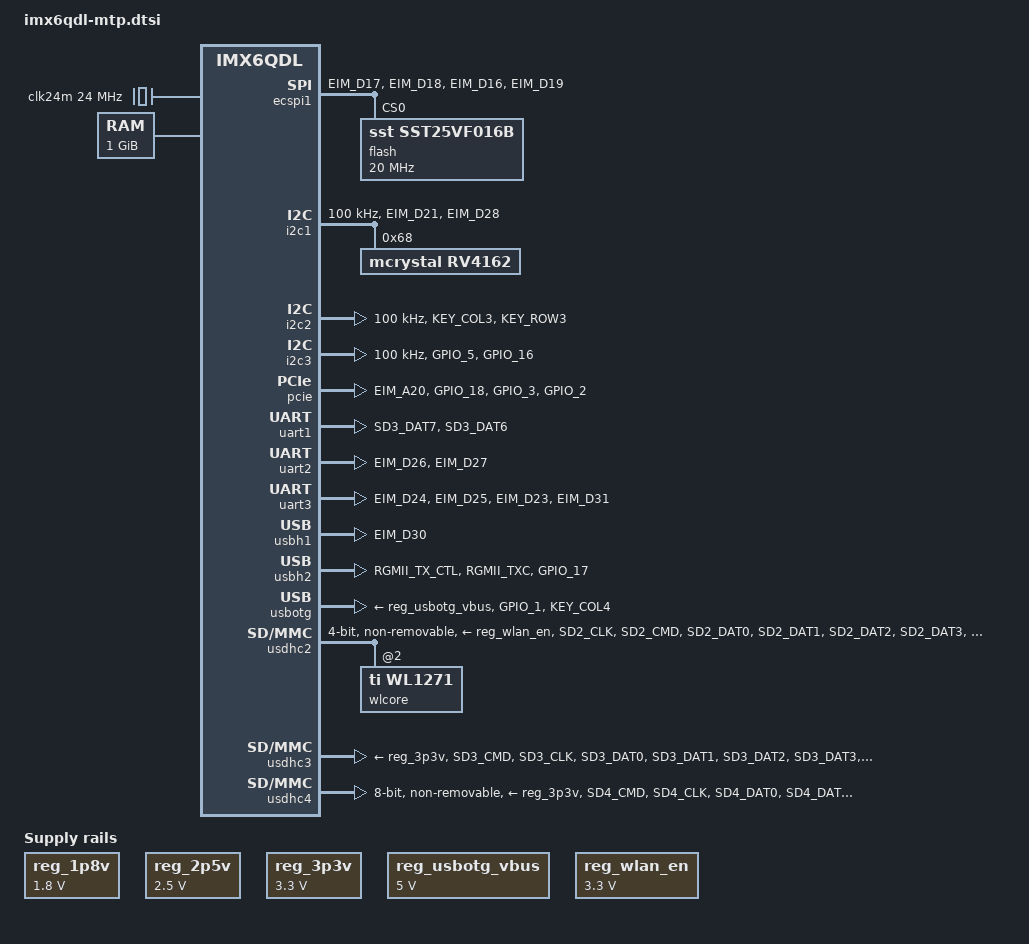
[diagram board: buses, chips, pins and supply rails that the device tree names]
/*
 * Copyright 2013 Boundary Devices
 * Copyright 2012 Freescale Semiconductor, Inc.
 * Copyright 2011 Linaro Ltd.
 *
 * The code contained herein is licensed under the GNU General Public
 * License. You may obtain a copy of the GNU General Public License
 * Version 2 or later at the following locations:
 *
 * http://www.opensource.org/licenses/gpl-license.html
 * http://www.gnu.org/copyleft/gpl.html
 */
#include <dt-bindings/gpio/gpio.h>
#include <dt-bindings/input/input.h>

&iomuxc {
	pinctrl-names = "default";
	pinctrl-0 = <&pinctrl_hog>;

	iomuxc_imx6q_mtp: iomuxc-imx6q-mtpgrp {
		status = "okay";
	};
};

&iomuxc_imx6q_mtp {
	pinctrl_bt_rfkill: bt-rfkillgrp {
		fsl,pins = <
#define GP_BT_RFKILL_RESET		<&gpio6 16 GPIO_ACTIVE_HIGH>
			MX6QDL_PAD_NANDF_CS3__GPIO6_IO16	0x000b0
			MX6QDL_PAD_KEY_ROW4__GPIO4_IO15		0x1b0b0		/* wl1271 btfunc5 */
		>;
	};

	pinctrl_ecspi1: ecspi1grp {
		fsl,pins = <
			MX6QDL_PAD_EIM_D17__ECSPI1_MISO		0x100b1
			MX6QDL_PAD_EIM_D18__ECSPI1_MOSI		0x100b1
			MX6QDL_PAD_EIM_D16__ECSPI1_SCLK		0x100b1
#define GP_ECSPI1_NOR_CS		<&gpio3 19 GPIO_ACTIVE_LOW>
			MX6QDL_PAD_EIM_D19__GPIO3_IO19		0x000b1	/* CS */
		>;
	};

	pinctrl_hog: hoggrp {
		fsl,pins = <
			MX6QDL_PAD_KEY_COL0__GPIO4_IO06		0x1b0b0		/* Pic GPIO2 */
			MX6QDL_PAD_KEY_ROW0__GPIO4_IO07		0x1b0b0		/* Pic GPIO1 */
			MX6QDL_PAD_KEY_COL1__GPIO4_IO08		0x1b0b0		/* Pic IRQ */
			MX6QDL_PAD_KEY_COL2__GPIO4_IO10		0x1b0b0		/* Pic GPIO148 */
			MX6QDL_PAD_KEY_ROW2__GPIO4_IO11		0x1b0b0		/* Pic GPIO149 */
			MX6QDL_PAD_EIM_A16__GPIO2_IO22		0x1b0b0		/* BT_DC */
			MX6QDL_PAD_EIM_A17__GPIO2_IO21		0x1b0b0		/* BT_DD */
			MX6QDL_PAD_EIM_A18__GPIO2_IO20		0x1b0b0		/* BT_RESET */
			MX6QDL_PAD_EIM_A19__GPIO2_IO19		0x1b0b0		/* BT_CPU_GPIO */
			MX6QDL_PAD_EIM_A25__GPIO5_IO02		0x1b0b0		/* Gyro Irq - MPU9250, on I2C3 */
		>;
	};

	pinctrl_i2c1: i2c1grp {
		fsl,pins = <
			MX6QDL_PAD_EIM_D21__I2C1_SCL		0x4001b8b1
			MX6QDL_PAD_EIM_D28__I2C1_SDA		0x4001b8b1
		>;
	};

	pinctrl_i2c1_rv4162: i2c1-rv4162grp {
		fsl,pins = <
#define GPIRQ_RTC_RV4162	<&gpio4 9 IRQ_TYPE_LEVEL_LOW>
			MX6QDL_PAD_KEY_ROW1__GPIO4_IO09		0x1b0b0
		>;
	};

	pinctrl_i2c2: i2c2grp {
		fsl,pins = <
			MX6QDL_PAD_KEY_COL3__I2C2_SCL		0x4001b8b1
			MX6QDL_PAD_KEY_ROW3__I2C2_SDA		0x4001b8b1
		>;
	};

	pinctrl_i2c3: i2c3grp {
		fsl,pins = <
			MX6QDL_PAD_GPIO_5__I2C3_SCL  0x4001b8b1
			MX6QDL_PAD_GPIO_16__I2C3_SDA 0x4001b8b1
		>;
	};

	pinctrl_pcie: pciegrp {
		fsl,pins = <
#define GP_PCIE_RESET		<&gpio2 18 GPIO_ACTIVE_LOW>
			MX6QDL_PAD_EIM_A20__GPIO2_IO18		0x030b0
#define GP_PCIE_RESET2		<&gpio7 13 GPIO_ACTIVE_LOW>
			MX6QDL_PAD_GPIO_18__GPIO7_IO13		0x030b0
#define GP_PCIE_PON_RESET	<&gpio1 3 GPIO_ACTIVE_LOW>
			MX6QDL_PAD_GPIO_3__GPIO1_IO03		0x030b0
#define GP_PCIE_WAKE		<&gpio1 2 GPIO_ACTIVE_LOW>
			MX6QDL_PAD_GPIO_2__GPIO1_IO02		0x030b0
		>;
	};

	pinctrl_reg_usbotg_vbus: usb_otg_vbusgrp {
		fsl,pins = <
			/* power enable, high active */
#define GP_REG_USBOTG		<&gpio3 22 GPIO_ACTIVE_HIGH>
			MX6QDL_PAD_EIM_D22__GPIO3_IO22  0x000b0
		>;
	};

	pinctrl_reg_wlan_en: reg-wlan-engrp {
		fsl,pins = <
#define GP_REG_WLAN_EN	<&gpio6 15 GPIO_ACTIVE_HIGH>
			MX6QDL_PAD_NANDF_CS2__GPIO6_IO15	0x030b0
		>;
	};

	pinctrl_uart1: uart1grp {
		fsl,pins = <
			MX6QDL_PAD_SD3_DAT7__UART1_TX_DATA	0x1b0b1
			MX6QDL_PAD_SD3_DAT6__UART1_RX_DATA	0x1b0b1
		>;
	};

	pinctrl_uart2: uart2grp {
		fsl,pins = <
			MX6QDL_PAD_EIM_D26__UART2_TX_DATA	0x1b0b1
			MX6QDL_PAD_EIM_D27__UART2_RX_DATA	0x1b0b1
		>;
	};

	pinctrl_uart3: uart3grp {
		fsl,pins = <
			MX6QDL_PAD_EIM_D24__UART3_TX_DATA	0x1b0b1
			MX6QDL_PAD_EIM_D25__UART3_RX_DATA	0x1b0b1
			MX6QDL_PAD_EIM_D23__UART3_CTS_B		0x1b0b1
			MX6QDL_PAD_EIM_D31__UART3_RTS_B		0x1b0b1
		>;
	};

	pinctrl_usbh1: usbh1grp {
		fsl,pins = <
			MX6QDL_PAD_EIM_D30__USB_H1_OC	0x1b0b0
		>;
	};

	pinctrl_usbh2_idle: usbh2_idlegrp {
		fsl,pins = <
			MX6QDL_PAD_RGMII_TX_CTL__USB_H2_STROBE	0x40013038
			MX6QDL_PAD_RGMII_TXC__USB_H2_DATA	0x40013038
#define GP_USBH2_HUB_RESET	<&gpio7 12 GPIO_ACTIVE_LOW>
			MX6QDL_PAD_GPIO_17__GPIO7_IO12		0x0b0b0		/* USB Hub Reset */
		>;
	};

	pinctrl_usbh2_active: usbh2_activegrp {
		fsl,pins = <
			MX6QDL_PAD_RGMII_TX_CTL__USB_H2_STROBE	0x40017038
		>;
	};

	pinctrl_usbotg: usbotggrp {
		fsl,pins = <
			MX6QDL_PAD_GPIO_1__USB_OTG_ID	0x17059
			MX6QDL_PAD_KEY_COL4__USB_OTG_OC	0x1b0b0
		>;
	};

	pinctrl_usdhc2_50mhz: usdhc2-50mhzgrp {
		fsl,pins = <
			MX6QDL_PAD_SD2_CLK__SD2_CLK		0x10031
			MX6QDL_PAD_SD2_CMD__SD2_CMD		0x17031
			MX6QDL_PAD_SD2_DAT0__SD2_DATA0		0x17031
			MX6QDL_PAD_SD2_DAT1__SD2_DATA1		0x17031
			MX6QDL_PAD_SD2_DAT2__SD2_DATA2		0x17031
			MX6QDL_PAD_SD2_DAT3__SD2_DATA3		0x17031
			MX6QDL_PAD_SD1_CLK__OSC32K_32K_OUT	0x000b0		/* TiWi slow clock */
#define GPIRQ_WL1271	<&gpio6 14 IRQ_TYPE_LEVEL_HIGH>
			MX6QDL_PAD_NANDF_CS1__GPIO6_IO14	0x100b0
		>;
	};

	pinctrl_usdhc2_100mhz: usdhc2-100mhzgrp {
		fsl,pins = <
			MX6QDL_PAD_SD2_CMD__SD2_CMD		0x170B9
			MX6QDL_PAD_SD2_CLK__SD2_CLK		0x100B9
			MX6QDL_PAD_SD2_DAT0__SD2_DATA0		0x170B9
			MX6QDL_PAD_SD2_DAT1__SD2_DATA1 		0x170B9
			MX6QDL_PAD_SD2_DAT2__SD2_DATA2 		0x170B9
			MX6QDL_PAD_SD2_DAT3__SD2_DATA3 		0x170B9
		>;
	};

	pinctrl_usdhc2_200mhz: usdhc2-200mhzgrp {
		fsl,pins = <
			MX6QDL_PAD_SD2_CMD__SD2_CMD		0x170F9
			MX6QDL_PAD_SD2_CLK__SD2_CLK 		0x100F9
			MX6QDL_PAD_SD2_DAT0__SD2_DATA0		0x170F9
			MX6QDL_PAD_SD2_DAT1__SD2_DATA1 		0x170F9
			MX6QDL_PAD_SD2_DAT2__SD2_DATA2 		0x170F9
			MX6QDL_PAD_SD2_DAT3__SD2_DATA3 		0x170F9
		>;
	};

	pinctrl_usdhc3_50mhz: usdhc3_50mhzgrp {
		fsl,pins = <
			MX6QDL_PAD_SD3_CMD__SD3_CMD		0x17059
			MX6QDL_PAD_SD3_CLK__SD3_CLK		0x10059
			MX6QDL_PAD_SD3_DAT0__SD3_DATA0		0x17059
			MX6QDL_PAD_SD3_DAT1__SD3_DATA1		0x17059
			MX6QDL_PAD_SD3_DAT2__SD3_DATA2		0x17059
			MX6QDL_PAD_SD3_DAT3__SD3_DATA3		0x17059
#define GP_SD3_CD		<&gpio7 0 GPIO_ACTIVE_LOW>
			MX6QDL_PAD_SD3_DAT5__GPIO7_IO00 0x1b0b0	/* CD */
		>;
	};

	pinctrl_usdhc3_100mhz: usdhc3_100mhzgrp {
		fsl,pins = <
			MX6QDL_PAD_SD3_CMD__SD3_CMD		0x170b9
			MX6QDL_PAD_SD3_CLK__SD3_CLK		0x100b9
			MX6QDL_PAD_SD3_DAT0__SD3_DATA0		0x170b9
			MX6QDL_PAD_SD3_DAT1__SD3_DATA1		0x170b9
			MX6QDL_PAD_SD3_DAT2__SD3_DATA2		0x170b9
			MX6QDL_PAD_SD3_DAT3__SD3_DATA3		0x170b9
		>;
	};

	pinctrl_usdhc3_200mhz: usdhc3_200mhzgrp {
		fsl,pins = <
			MX6QDL_PAD_SD3_CMD__SD3_CMD		0x170f9
			MX6QDL_PAD_SD3_CLK__SD3_CLK		0x100f9
			MX6QDL_PAD_SD3_DAT0__SD3_DATA0		0x170f9
			MX6QDL_PAD_SD3_DAT1__SD3_DATA1		0x170f9
			MX6QDL_PAD_SD3_DAT2__SD3_DATA2		0x170f9
			MX6QDL_PAD_SD3_DAT3__SD3_DATA3		0x170f9
		>;
	};

	pinctrl_usdhc4_50mhz: usdhc4_50mhzgrp {
		fsl,pins = <
			MX6QDL_PAD_SD4_CMD__SD4_CMD		0x17059
			MX6QDL_PAD_SD4_CLK__SD4_CLK		0x10059
			MX6QDL_PAD_SD4_DAT0__SD4_DATA0		0x17059
			MX6QDL_PAD_SD4_DAT1__SD4_DATA1		0x17059
			MX6QDL_PAD_SD4_DAT2__SD4_DATA2		0x17059
			MX6QDL_PAD_SD4_DAT3__SD4_DATA3		0x17059
			MX6QDL_PAD_SD4_DAT4__SD4_DATA4		0x17059
			MX6QDL_PAD_SD4_DAT5__SD4_DATA5		0x17059
			MX6QDL_PAD_SD4_DAT6__SD4_DATA6		0x17059
			MX6QDL_PAD_SD4_DAT7__SD4_DATA7		0x17059
#define GP_EMMC_RESET	<&gpio6 11 GPIO_ACTIVE_LOW>
			MX6QDL_PAD_NANDF_CS0__GPIO6_IO11 0x1b0b0
		>;
	};

	pinctrl_usdhc4_100mhz: usdhc4_100mhzgrp {
		fsl,pins = <
			MX6QDL_PAD_SD4_CMD__SD4_CMD		0x170b9
			MX6QDL_PAD_SD4_CLK__SD4_CLK		0x100b9
			MX6QDL_PAD_SD4_DAT0__SD4_DATA0		0x170b9
			MX6QDL_PAD_SD4_DAT1__SD4_DATA1		0x170b9
			MX6QDL_PAD_SD4_DAT2__SD4_DATA2		0x170b9
			MX6QDL_PAD_SD4_DAT3__SD4_DATA3		0x170b9
			MX6QDL_PAD_SD4_DAT4__SD4_DATA4		0x170b9
			MX6QDL_PAD_SD4_DAT5__SD4_DATA5		0x170b9
			MX6QDL_PAD_SD4_DAT6__SD4_DATA6		0x170b9
			MX6QDL_PAD_SD4_DAT7__SD4_DATA7		0x170b9
		>;
	};

	pinctrl_usdhc4_200mhz: usdhc4_200mhzgrp {
		fsl,pins = <
			MX6QDL_PAD_SD4_CMD__SD4_CMD		0x170f9
			MX6QDL_PAD_SD4_CLK__SD4_CLK		0x100f9
			MX6QDL_PAD_SD4_DAT0__SD4_DATA0		0x170f9
			MX6QDL_PAD_SD4_DAT1__SD4_DATA1		0x170f9
			MX6QDL_PAD_SD4_DAT2__SD4_DATA2		0x170f9
			MX6QDL_PAD_SD4_DAT3__SD4_DATA3		0x170f9
			MX6QDL_PAD_SD4_DAT4__SD4_DATA4		0x170f9
			MX6QDL_PAD_SD4_DAT5__SD4_DATA5		0x170f9
			MX6QDL_PAD_SD4_DAT6__SD4_DATA6		0x170f9
			MX6QDL_PAD_SD4_DAT7__SD4_DATA7		0x170f9
		>;
	};
};

/ {
	aliases {
		mmc0 = &usdhc3;
		mmc1 = &usdhc4;
		mmc2 = &usdhc2;
	};

	bt_rfkill: bt_rfkill {
		compatible = "net,rfkill-gpio";
		pinctrl-names = "default";
		pinctrl-0 = <&pinctrl_bt_rfkill>;
		name = "bt_rfkill";
		type = <2>;     /* bluetooth */
		reset-gpios = GP_BT_RFKILL_RESET;
	};

	clocks {
		clk24m: clk24m {
			compatible = "fixed-clock";
			#clock-cells = <0>;
			clock-frequency = <24000000>;
		};
	};

	memory {
		reg = <0x10000000 0x40000000>;
	};

	regulators {
		compatible = "simple-bus";
		#address-cells = <1>;
		#size-cells = <0>;

		reg_1p8v: regulator@0 {
			compatible = "regulator-fixed";
			reg = <0>;
			regulator-name = "1P8V";
			regulator-min-microvolt = <1800000>;
			regulator-max-microvolt = <1800000>;
			regulator-always-on;
		};

		reg_2p5v: regulator@1 {
			compatible = "regulator-fixed";
			reg = <1>;
			regulator-name = "2P5V";
			regulator-min-microvolt = <2500000>;
			regulator-max-microvolt = <2500000>;
			regulator-always-on;
		};

		reg_3p3v: regulator@2 {
			compatible = "regulator-fixed";
			reg = <2>;
			regulator-name = "3P3V";
			regulator-min-microvolt = <3300000>;
			regulator-max-microvolt = <3300000>;
			regulator-always-on;
		};

		reg_usbotg_vbus: regulator@3 {
			compatible = "regulator-fixed";
			reg = <3>;
			pinctrl-names = "default";
			pinctrl-0 = <&pinctrl_reg_usbotg_vbus>;
			regulator-name = "usb_otg_vbus";
			regulator-min-microvolt = <5000000>;
			regulator-max-microvolt = <5000000>;
			gpio = GP_REG_USBOTG;
			enable-active-high;
		};

		reg_wlan_en: regulator@4 {
			compatible = "regulator-fixed";
			reg = <4>;
			pinctrl-names = "default";
			pinctrl-0 = <&pinctrl_reg_wlan_en>;
			regulator-name = "wlan-en";
			regulator-min-microvolt = <3300000>;
			regulator-max-microvolt = <3300000>;
			gpio = GP_REG_WLAN_EN;
			startup-delay-us = <70000>;
			enable-active-high;
		};
	};
};

&ecspi1 {
	fsl,spi-num-chipselects = <1>;
	cs-gpios = GP_ECSPI1_NOR_CS;
	pinctrl-names = "default";
	pinctrl-0 = <&pinctrl_ecspi1>;
	status = "okay";

	flash: m25p80@0 {
		compatible = "sst,sst25vf016b";
		spi-max-frequency = <20000000>;
		reg = <0>;
		#address-cells = <1>;
		#size-cells = <1>;
		mtd@00000000 {
			label = "U-Boot";
			reg = <0x0 0xC0000>;
		};

		mtd@000C0000 {
			label = "env";
			reg = <0xC0000 0x2000>;
		};
		mtd@000C2000 {
			label = "splash";
			reg = <0xC2000 0x13e000>;
		};
	};
};


&i2c1 {
	clock-frequency = <100000>;
	pinctrl-names = "default";
	pinctrl-0 = <&pinctrl_i2c1>;
	status = "okay";

	rv4162@68 {
		compatible = "mcrystal,rv4162";
		reg = <0x68>;
		interrupts-extended = GPIRQ_RTC_RV4162;
		pinctrl-names = "default";
		pinctrl-0 = <&pinctrl_i2c1_rv4162>;
	};
};

&i2c2 {
	clock-frequency = <100000>;
	pinctrl-names = "default";
	pinctrl-0 = <&pinctrl_i2c2>;
	status = "okay";
};

&i2c3 {
        clock-frequency = <100000>;
        pinctrl-names = "default";
        pinctrl-0 = <&pinctrl_i2c3>;
        status = "okay";
};

&pcie {
	pinctrl-names = "default";
	pinctrl-0 = <&pinctrl_pcie>;
	reset-gpio = GP_PCIE_PON_RESET,GP_PCIE_RESET,GP_PCIE_RESET2;
	status = "okay";
};

&uart1 {
	pinctrl-names = "default";
	pinctrl-0 = <&pinctrl_uart1>;
	status = "okay";
};

&uart2 {
	pinctrl-names = "default";
	pinctrl-0 = <&pinctrl_uart2>;
	status = "okay";
};

/* TiWi(wl1271) bluetooth */
&uart3 {
	pinctrl-names = "default";
	pinctrl-0 = <&pinctrl_uart3>;
	fsl,uart-has-rtscts;
	status = "okay";
};

&usbh1 {
	pinctrl-names = "default";
	pinctrl-0 = <&pinctrl_usbh1>;
	status = "okay";
};

&usbh2 {
	pinctrl-names = "idle", "active";
	pinctrl-0 = <&pinctrl_usbh2_idle>;
	pinctrl-1 = <&pinctrl_usbh2_active>;
	reset-gpios = GP_USBH2_HUB_RESET;
	osc-clkgate-delay = <0x3>;
	status = "okay";
};

&usbotg {
	pinctrl-names = "default";
	pinctrl-0 = <&pinctrl_usbotg>;
	vbus-supply = <&reg_usbotg_vbus>;
	disable-over-current;
	status = "okay";
};

&usdhc2 {	/* uSDHC2, silex/TiWi wl1271 */
	pinctrl-names = "default", "state_100mhz", "state_200mhz";
	pinctrl-0 = <&pinctrl_usdhc2_50mhz>;
	pinctrl-1 = <&pinctrl_usdhc2_100mhz>;
	pinctrl-2 = <&pinctrl_usdhc2_200mhz>;
	bus-width = <4>;
	non-removable;
	vmmc-supply = <&reg_wlan_en>;
	vqmmc-1-8-v;
	cap-power-off-card;
	keep-power-in-suspend;
	status = "okay";

	#address-cells = <1>;
	#size-cells = <0>;
	wlcore: wlcore@2 {
		compatible = "ti,wl1271";
		interrupts-extended = GPIRQ_WL1271;
		reg = <2>;
		ref-clock-frequency = <38400000>;
	};
};

/* Micro SD */
&usdhc3 {
#if 0
	pinctrl-names = "default", "state_100mhz", "state_200mhz";
	pinctrl-0 = <&pinctrl_usdhc3_50mhz>;
	pinctrl-1 = <&pinctrl_usdhc3_100mhz>;
	pinctrl-2 = <&pinctrl_usdhc3_200mhz>;
#else
	pinctrl-names = "default";
	pinctrl-0 = <&pinctrl_usdhc3_50mhz>;
#endif
	cd-gpios = GP_SD3_CD;
	vmmc-supply = <&reg_3p3v>;
	status = "okay";
};

/* eMMC */
&usdhc4 {
#if 0
	pinctrl-names = "default", "state_100mhz", "state_200mhz";
	pinctrl-0 = <&pinctrl_usdhc4_50mhz>;
	pinctrl-1 = <&pinctrl_usdhc4_100mhz>;
	pinctrl-2 = <&pinctrl_usdhc4_200mhz>;
#else
	pinctrl-names = "default";
	pinctrl-0 = <&pinctrl_usdhc4_50mhz>;
#endif
	bus-width = <8>;
	non-removable;
	vmmc-supply = <&reg_3p3v>;
	keep-power-in-suspend;
	status = "okay";
};
